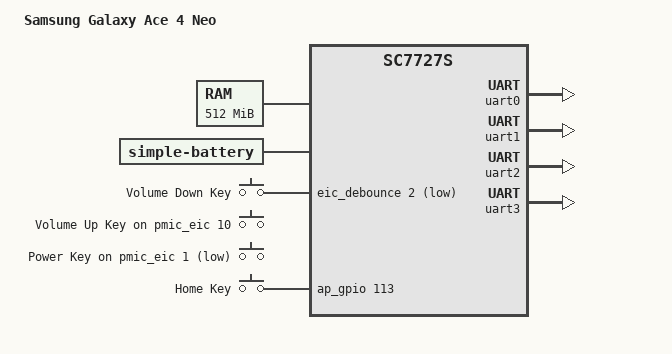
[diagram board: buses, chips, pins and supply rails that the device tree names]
// SPDX-License-Identifier: GPL-2.0
/*
 * Spreadtrum pike sp7727s board DTS file
 *
 * Copyright (C) 2025, Vladimir Panferov
 */

/dts-v1/;

#include "sc7727s.dtsi"
#include "sc2723.dtsi"

#include <dt-bindings/gpio/gpio.h>
#include <dt-bindings/input/input.h>

/ {
	model = "Samsung Galaxy Ace 4 Neo";
	compatible = "samsung,sm-g318h", "sprd,sc7727s";

	aliases {
		framebuffer = &fb0;
	};

	memory {
		device_type = "memory";
		reg = <0x80000000 0x20000000>;
	};

	chosen {
		stdout-path = "framebuffer";
		bootargs = "earlycon=sprd_serial,0x70000000 init=/init root=/dev/ram0 rw";

		/* display: lcd_id=ID55bc10 lcd_base=9d700000 */
		fb0: framebuffer@9d700000 {
			compatible = "simple-framebuffer";
			reg = <0x9d700000 (480 * 800 * 4)>;
			width = <480>;
			height = <800>;
			stride = <(480 * 4)>;
			format = "a8r8g8b8";
			status = "okay";
		};
	};

	reserved-memory {
		smem_reserved: sipc_mem@87800000 {
			reg = <0 0x87800000 0 0x240000>;
			no-map;
		};
		cp_reserved: cp_modem@88000000 {
			reg = <0 0x88000000 0 0x1c00000>;
			no-map;
		};
		ion_reserved: ion_mem@9fd00000 {
			reg = <0 0x9fd00000 0 0x300000>;
			no-map;
		};
	};

	simple-battery {
		compatible = "simple-battery";
		voltage-max-design-microvolt = <4350000>;
		voltage-min-design-microvolt = <3300000>;
		voltage-now-microvolt = <3800000>;
		alarm-voltage-microvolt = <3500000>;
		charge-full-design-microamp-hours = <1500000>;
		energy-full-design-microwatt-hours = <5700000>;
		internal-resistance-micro-ohms = <70000>;
		technology = "Li-ion";

		resistance-temp-table = <70 583>, <65 655>, <60 750>, <58 790>, <55 855>,
		<50 960>, <46 1010>, <45 1090>, <40 1170>, <35 1315>,
		<30 1435>, <25 1590>, <20 1700>, <15 1850>, <10 1965>,
		<5 2095>, <2 2135>, <0 2170>, <(-2) 2202>, <(-5) 2250>,
		<(-7) 2285>, <(-15) 2376>, <(-20) 2415>;

		ocv-capacity-celsius = <20>;
		ocv-capacity-table-0 = <4318 100>, <4247 95>,
		<4185 90>, <4130 85>,
		<4085 80>, <4042 75>,
		<3998 70>, <3959 65>,
		<3917 60>, <3865 55>,
		<3833 50>, <3811 45>,
		<3793 40>, <3779 35>,
		<3770 30>, <3761 25>,
		<3741 20>, <3705 15>,
		<3667 10>, <3628 5>,
		<3400 0>;
	};

	gpio-keys {
		compatible = "gpio-keys";

		key-volumedown {
			label = "Volume Down Key";
			linux,code = <KEY_VOLUMEDOWN>;
			gpios = <&eic_debounce 2 GPIO_ACTIVE_LOW>;
			debounce-interval = <2>;
			wakeup-source;
		};

		key-volumeup {
			label = "Volume Up Key";
			linux,code = <KEY_VOLUMEUP>;
			gpios = <&pmic_eic 10 GPIO_ACTIVE_HIGH>;
			debounce-interval = <2>;
			wakeup-source;
		};

		key-power {
			label = "Power Key";
			linux,code =<KEY_POWER>;
			gpios = <&pmic_eic 1 GPIO_ACTIVE_LOW>;
			debounce-interval = <2>;
			wakeup-source;
		};

		key-home {
			label = "Home Key";
			linux,code = <KEY_HOMEPAGE>;
			gpios = <&ap_gpio 113 GPIO_ACTIVE_HIGH>;
			debounce-interval = <2>;
			wakeup-source;
		};
	};
};

&uart0 {
	status = "okay";
};

&uart1 {
	status = "okay";
};

&uart2 {
	status = "okay";
};

&uart3 {
	status = "okay";
};
